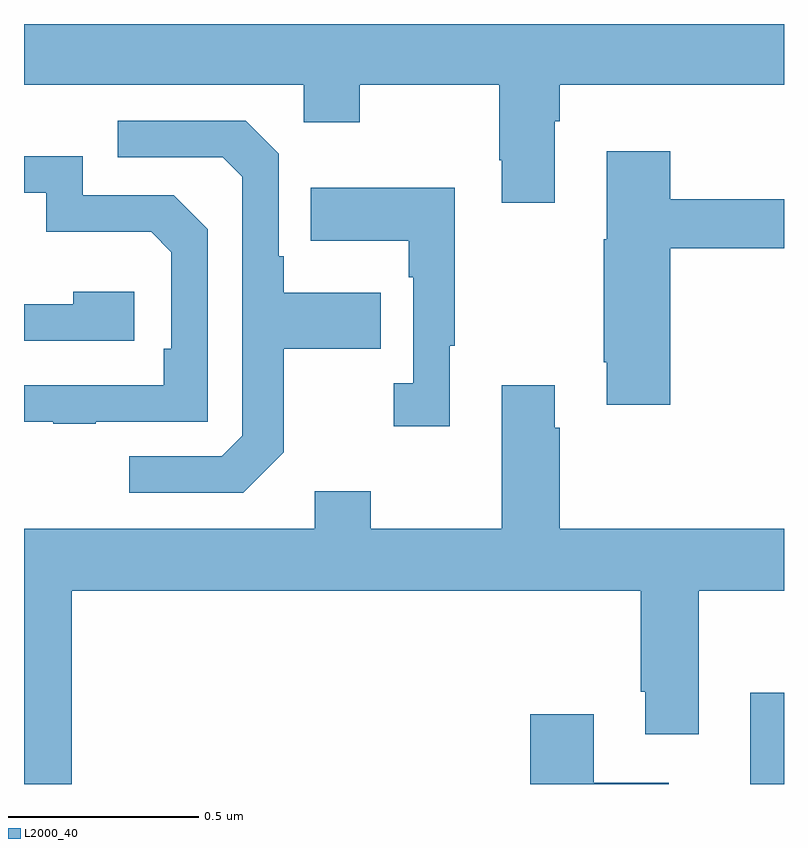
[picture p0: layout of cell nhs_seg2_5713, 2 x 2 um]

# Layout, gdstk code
import gdstk
lib = gdstk.Library(unit=1e-6, precision=1e-09)
def R(c, l, rs):  # rectangles x0, y0, x1, y1
    for r in rs: c.add(gdstk.rectangle(r[:2], r[2:], *l))
def P(c, l, *ps):  # polygons
    for p in ps: c.add(gdstk.Polygon(p, *l))
L2000_40 = (2000, 40)

nhs_seg2_5713 = lib.new_cell('nhs_seg2_5713')
R(nhs_seg2_5713, L2000_40, [(183.911,641.8,184,642.04)])
P(nhs_seg2_5713, L2000_40, [(183.397,643.544),(183.41,643.544),(183.41,643.64),(184,643.64),(184,643.8),(182,643.8),(182,643.64),(182.736,643.64),(182.736,643.541),(182.883,643.541),(182.883,643.64),(183.25,643.64),(183.25,643.441),(183.257,643.441),(183.257,643.329),(183.397,643.329)],
  [(182.683,642.673),(182.683,642.946),(182.939,642.946),(182.939,643.093),(182.683,643.093),(182.683,643.189),(182.67,643.189),(182.67,643.458),(182.583,643.545),(182.247,643.545),(182.247,643.449),(182.523,643.449),(182.574,643.398),(182.574,642.717),(182.52,642.663),(182.277,642.663),(182.277,642.567),(182.577,642.567)],
  [(183.701,643.21),(184,643.21),(184,643.339),(183.701,643.339),(183.701,643.465),(183.533,643.465),(183.533,643.233),(183.526,643.233),(183.526,642.91),(183.533,642.91),(183.533,642.798),(183.701,642.798)],
  [(182.189,642.753),(182.484,642.753),(182.484,643.26),(182.394,643.35),(182.154,643.35),(182.154,643.452),(182,643.452),(182,643.356),(182.058,643.356),(182.058,643.253),(182.335,643.253),(182.388,643.2),(182.388,642.946),(182.368,642.946),(182.368,642.849),(182,642.849),(182,642.753),(182.077,642.753),(182.077,642.748),(182.189,642.748)],
  [(183.121,642.953),(183.133,642.953),(183.133,643.369),(182.755,643.369),(182.755,643.229),(183.012,643.229),(183.012,643.133),(183.024,643.133),(183.024,642.854),(182.973,642.854),(182.973,642.741),(183.121,642.741)],
  [(182.29,643.096),(182.129,643.096),(182.129,643.062),(182,643.062),(182,642.966),(182.29,642.966)],
  [(182.126,642.308),(183.623,642.308),(183.623,642.043),(183.635,642.043),(183.635,641.931),(183.775,641.931),(183.775,642.308),(184,642.308),(184,642.472),(183.41,642.472),(183.41,642.737),(183.397,642.737),(183.397,642.85),(183.257,642.85),(183.257,642.472),(182.913,642.472),(182.913,642.571),(182.765,642.571),(182.765,642.472),(182,642.472),(182,641.8),(182.126,641.8)],
  [(183.697,641.803),(183.499,641.803),(183.499,641.983),(183.332,641.983),(183.332,641.8),(183.697,641.8)])

lib.write_gds('nhs_seg2_5713.gds')
